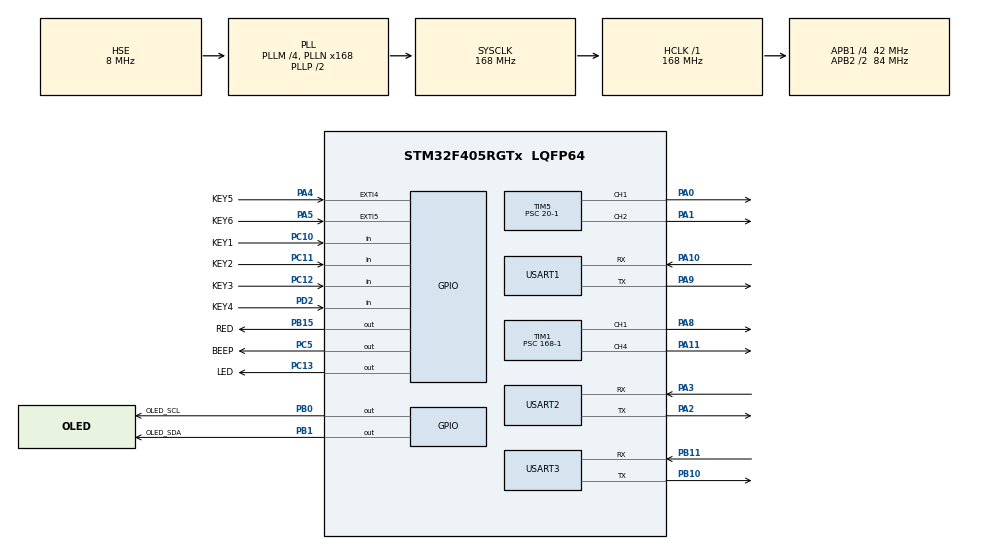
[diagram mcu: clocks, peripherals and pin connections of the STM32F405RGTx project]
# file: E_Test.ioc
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Mcu.Family=STM32F4
Mcu.Name=STM32F405RGTx
Mcu.Package=LQFP64
NVIC.EXTI4_IRQn=true\:0\:0\:false\:false\:true\:true\:true\:true
NVIC.EXTI9_5_IRQn=true\:0\:0\:false\:false\:true\:true\:true\:true
NVIC.PriorityGroup=NVIC_PRIORITYGROUP_4
NVIC.TIM2_IRQn=true\:1\:0\:true\:false\:true\:true\:true\:true
NVIC.USART1_IRQn=true\:1\:0\:true\:false\:true\:true\:true\:true
NVIC.USART2_IRQn=true\:1\:0\:true\:false\:true\:true\:true\:true
NVIC.USART3_IRQn=true\:1\:0\:true\:false\:true\:true\:true\:true
PA0-WKUP.Signal=S_TIM5_CH1
PA1.Signal=S_TIM5_CH2
PA10.Mode=Asynchronous
PA10.Signal=USART1_RX
PA11.Signal=S_TIM1_CH4
PA2.Mode=Asynchronous
PA2.Signal=USART2_TX
PA3.Mode=Asynchronous
PA3.Signal=USART2_RX
PA4.GPIO_Label=KEY5
PA4.GPIO_ModeDefaultEXTI=GPIO_MODE_IT_FALLING
PA4.GPIO_PuPd=GPIO_PULLUP
PA4.Signal=GPXTI4
PA5.GPIO_Label=KEY6
PA5.GPIO_ModeDefaultEXTI=GPIO_MODE_IT_FALLING
PA5.GPIO_PuPd=GPIO_PULLUP
PA5.Signal=GPXTI5
PA8.Signal=S_TIM1_CH1
PA9.Mode=Asynchronous
PA9.Signal=USART1_TX
PB0.GPIO_Label=OLED_SCL
PB0.GPIO_ModeDefaultOutputPP=GPIO_MODE_OUTPUT_OD
PB0.GPIO_PuPd=GPIO_PULLUP
PB0.GPIO_Speed=GPIO_SPEED_FREQ_VERY_HIGH
PB0.PinState=GPIO_PIN_SET
PB0.Signal=GPIO_Output
PB1.GPIO_Label=OLED_SDA
PB1.GPIO_ModeDefaultOutputPP=GPIO_MODE_OUTPUT_OD
PB1.GPIO_PuPd=GPIO_PULLUP
PB1.GPIO_Speed=GPIO_SPEED_FREQ_VERY_HIGH
PB1.PinState=GPIO_PIN_SET
PB1.Signal=GPIO_Output
PB10.Mode=Asynchronous
PB10.Signal=USART3_TX
PB11.Mode=Asynchronous
PB11.Signal=USART3_RX
PB15.GPIO_Label=RED
PB15.Signal=GPIO_Output
PC10.GPIO_Label=KEY1
PC10.Signal=GPIO_Input
PC11.GPIO_Label=KEY2
PC11.GPIO_PuPd=GPIO_NOPULL
PC11.Signal=GPIO_Input
PC12.GPIO_Label=KEY3
PC12.GPIO_PuPd=GPIO_NOPULL
PC12.Signal=GPIO_Input
PC13-ANTI_TAMP.GPIO_Label=LED
PC13-ANTI_TAMP.Signal=GPIO_Output
PC14-OSC32_IN.Mode=LSE-External-Oscillator
PC14-OSC32_IN.Signal=RCC_OSC32_IN
PC15-OSC32_OUT.Mode=LSE-External-Oscillator
PC15-OSC32_OUT.Signal=RCC_OSC32_OUT
PC5.GPIO_Label=BEEP
PC5.GPIO_Speed=GPIO_SPEED_FREQ_VERY_HIGH
PC5.Signal=GPIO_Output
PD2.GPIO_Label=KEY4
PD2.GPIO_PuPd=GPIO_NOPULL
PD2.Signal=GPIO_Input
PH0-OSC_IN.Mode=HSE-External-Oscillator
PH0-OSC_IN.Signal=RCC_OSC_IN
PH1-OSC_OUT.Mode=HSE-External-Oscillator
PH1-OSC_OUT.Signal=RCC_OSC_OUT
ProjectManager.HeapSize=0x200
ProjectManager.StackSize=0x400
ProjectManager.TargetToolchain=MDK-ARM V5.32
RCC.48MHZClocksFreq_Value=84000000
RCC.AHBFreq_Value=168000000
RCC.APB1CLKDivider=RCC_HCLK_DIV4
RCC.APB1Freq_Value=42000000
RCC.APB1TimFreq_Value=84000000
RCC.APB2CLKDivider=RCC_HCLK_DIV2
RCC.APB2Freq_Value=84000000
RCC.APB2TimFreq_Value=168000000
RCC.CortexFreq_Value=168000000
RCC.HCLKFreq_Value=168000000
RCC.HSE_VALUE=8000000
RCC.HSI_VALUE=16000000
RCC.PLLM=4
RCC.PLLN=168
RCC.PLLSourceVirtual=RCC_PLLSOURCE_HSE
RCC.SYSCLKFreq_VALUE=168000000
RCC.SYSCLKSource=RCC_SYSCLKSOURCE_PLLCLK
RCC.VCOOutputFreq_Value=336000000
SH.S_TIM1_CH1.0=TIM1_CH1,PWM Generation1 CH1
SH.S_TIM1_CH4.0=TIM1_CH4,PWM Generation4 CH4
SH.S_TIM5_CH1.0=TIM5_CH1,PWM Generation1 CH1
SH.S_TIM5_CH2.0=TIM5_CH2,PWM Generation2 CH2
TIM1.Channel-PWM\ Generation1\ CH1=TIM_CHANNEL_1
TIM1.Channel-PWM\ Generation4\ CH4=TIM_CHANNEL_4
TIM1.Period=20000
TIM1.Prescaler=168-1
TIM2.AutoReloadPreload=TIM_AUTORELOAD_PRELOAD_ENABLE
TIM2.Period=100-1
TIM2.Prescaler=84-1
TIM5.Channel-PWM\ Generation1\ CH1=TIM_CHANNEL_1
TIM5.Channel-PWM\ Generation2\ CH2=TIM_CHANNEL_2
TIM5.Period=84000
TIM5.Prescaler=20-1
USART1.VirtualMode=VM_ASYNC
USART2.VirtualMode=VM_ASYNC
USART3.VirtualMode=VM_ASYNC
VP_TIM2_VS_ClockSourceINT.Mode=Internal
board=custom

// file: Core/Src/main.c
/* USER CODE BEGIN Header */
/**
 ******************************************************************************
 * @file           : main.c
 * @brief          : Main program body
 ******************************************************************************
 * @attention
 *
 * Copyright (c) 2023 STMicroelectronics.
 * All rights reserved.
 *
 * This software is licensed under terms that can be found in the LICENSE file
 * in the root directory of this software component.
 * If no LICENSE file comes with this software, it is provided AS-IS.
 *
 ******************************************************************************
 */
/* USER CODE END Header */
#include "main.h"
#include "tim.h"
#include "usart.h"
#include "gpio.h"

/* USER CODE BEGIN Includes */
#include <string.h>
#include "oled.h"
#include "openmv.h"
#include "beep.h"
#include "key.h"
#include "gui.h"
#include "duoji.h"
#include "stdio.h"
#include "stm32f4xx_it.h"
#include "my_uart.h"
#include "math.h"
/* USER CODE END Includes */

/* USER CODE BEGIN PTD */
#define Wide 144 // Black
#define Long 114
/* USER CODE END PTD */

/* USER CODE BEGIN PV */
extern uint8_t Usart1_ReadBuf[255]; // 串口1 缓冲数组
extern uint8_t Usart1_ReadCount;    // 串口1 接收字节计数
extern uint8_t uart3_rxbuff;
extern Point Red_center[1];
extern int AVer_Num;
extern int X;
extern int Y;
extern int Stop_Num;
extern int Road_Num;
// extern Point Black_Point[4];
/* USER CODE END PV */

void SystemClock_Config(void);
/* USER CODE BEGIN PFP */
// int Open_Num = 0;
int angle_shang = 30;
int angle_xia = 30;
int Angle_Change = 0; // 1为角度设置，0为脉冲设置
int Maichong_Shang = 910;
int Maichong_xia = 2500; // 右上
void (*current_operation_index)();
uint32_t func_index = 1;  // 初始显示欢迎界面
uint8_t last_index = 127; // last初始为无效值
int i;
int Road = 0;
extern int PID_Num;
// int Maichong_Shang = Shang_Min;
// int Maichong_xia = Xia_Min;

/* USER CODE END PFP */

/* USER CODE BEGIN 0 */

// int Road = 0;
//  Point Center_Point[1]={{51, 48}};//中心点坐标
Point Bian_Point[5] = {
    {139, 12},  // 右上
    {134, 131}, // 右下
    {12, 134},  // 左下
    {12, 16},   // 左上
    {139, 12},  // 右上
};              // 铅笔痕迹的四点坐标
/* USER CODE END 0 */

int main(void)
{
  /* USER CODE BEGIN 1 */
  int numPoints = 0;
  /* USER CODE END 1 */

  /* MCU Configuration--------------------------------------------------------*/

  /* Reset of all peripherals, Initializes the Flash interface and the Systick. */
  HAL_Init();

  /* Configure the system clock */
  SystemClock_Config();

  /* Initialize all configured peripherals */
  MX_GPIO_Init();
  MX_TIM1_Init();
  MX_USART1_UART_Init();
  MX_USART2_UART_Init();
  MX_USART3_UART_Init();
  MX_TIM2_Init();
  MX_TIM5_Init();
  /* USER CODE BEGIN 2 */
  OLED_Init(); // 初始化OLED

  PID_init(); // PID参数初始化

  HAL_UART_Receive_IT(&huart1, &USART3_RX_Data, 1); // 打开串口接收中断
  HAL_UART_Receive_IT(&huart2, &USART2_RX_Data, 1); // 打开串口接收中断;
  HAL_TIM_PWM_Start(&htim1, TIM_CHANNEL_1);         //***定时器初始化
  HAL_TIM_PWM_Start(&htim1, TIM_CHANNEL_4);         //***定时器初始化
  HAL_TIM_PWM_Start(&htim5, TIM_CHANNEL_1);         //***定时器初始化
  HAL_TIM_PWM_Start(&htim5, TIM_CHANNEL_2);         //***定时器初始化
  HAL_TIM_Base_Start_IT(&htim2);                    // 定时器2的定时功能开，1ms
  HAL_GPIO_WritePin(RED_GPIO_Port, RED_Pin, GPIO_PIN_SET);

  /* USER CODE END 2 */

  /* Infinite loop */
  /* USER CODE BEGIN WHILE */
  while (1)
  {

    Menu_OLED(); // 执行菜单命令

    // }

    /* USER CODE END WHILE */

  }
}

void SystemClock_Config(void)
{
  RCC_OscInitTypeDef RCC_OscInitStruct = {0};
  RCC_ClkInitTypeDef RCC_ClkInitStruct = {0};

  /** Configure the main internal regulator output voltage
  */
  __HAL_RCC_PWR_CLK_ENABLE();
  __HAL_PWR_VOLTAGESCALING_CONFIG(PWR_REGULATOR_VOLTAGE_SCALE1);

  /** Initializes the RCC Oscillators according to the specified parameters
  * in the RCC_OscInitTypeDef structure.
  */
  RCC_OscInitStruct.OscillatorType = RCC_OSCILLATORTYPE_HSE;
  RCC_OscInitStruct.HSEState = RCC_HSE_ON;
  RCC_OscInitStruct.PLL.PLLState = RCC_PLL_ON;
  RCC_OscInitStruct.PLL.PLLSource = RCC_PLLSOURCE_HSE;
  RCC_OscInitStruct.PLL.PLLM = 4;
  RCC_OscInitStruct.PLL.PLLN = 168;
  RCC_OscInitStruct.PLL.PLLP = RCC_PLLP_DIV2;
  RCC_OscInitStruct.PLL.PLLQ = 4;
  if (HAL_RCC_OscConfig(&RCC_OscInitStruct) != HAL_OK)
  {
    Error_Handler();
  }

  /** Initializes the CPU, AHB and APB buses clocks
  */
  RCC_ClkInitStruct.ClockType = RCC_CLOCKTYPE_HCLK|RCC_CLOCKTYPE_SYSCLK
                              |RCC_CLOCKTYPE_PCLK1|RCC_CLOCKTYPE_PCLK2;
  RCC_ClkInitStruct.SYSCLKSource = RCC_SYSCLKSOURCE_PLLCLK;
  RCC_ClkInitStruct.AHBCLKDivider = RCC_SYSCLK_DIV1;
  RCC_ClkInitStruct.APB1CLKDivider = RCC_HCLK_DIV4;
  RCC_ClkInitStruct.APB2CLKDivider = RCC_HCLK_DIV2;

  if (HAL_RCC_ClockConfig(&RCC_ClkInitStruct, FLASH_LATENCY_5) != HAL_OK)
  {
    Error_Handler();
  }
}

/* USER CODE BEGIN 4 */
// void HAL_GPIO_EXTI_IRQHandler(uint16_t GPIO_Pin)
//{
//  EXTI line interrupt detected
//  if(__HAL_GPIO_EXTI_GET_IT(GPIO_Pin) != RESET)
//  {
//   // __HAL_GPIO_EXTI_CLEAR_IT(GPIO_Pin);
//    HAL_GPIO_EXTI_Callback(GPIO_Pin);
//		__HAL_GPIO_EXTI_CLEAR_IT(GPIO_Pin);
//  }
//

void HAL_GPIO_EXTI_Callback(uint16_t GPIO_Pin)
{
  if (GPIO_Pin == KEY5_Pin)
  {
    if (HAL_GPIO_ReadPin(KEY5_GPIO_Port, KEY5_Pin) == 0)
    {
      LED_text;
      if (Stop_Num == 0)
        Stop_Num = 1;
      else
        Stop_Num = 0;
      while (!HAL_GPIO_ReadPin(KEY5_GPIO_Port, KEY5_Pin))
        ; // 松手检测
    }
   // __HAL_GPIO_EXTI_CLEAR_IT(GPIO_Pin);
  }
  if (GPIO_Pin == KEY6_Pin)
  {
    if (HAL_GPIO_ReadPin(KEY6_GPIO_Port, KEY6_Pin) == 0)
    {
		LED_text;
				PID_Num=0;
                Stop_Num = 0;
                PID_Duoji_Shang.target_val = O_Center[0].y;
                PID_Duoji_Xia.target_val = O_Center[0].x;
               // Beep_DD();
               // OLED_Clear();
                //func_index = 1;
      while (!HAL_GPIO_ReadPin(KEY6_GPIO_Port, KEY6_Pin)); // 松手检测
    }

  }
  __HAL_GPIO_EXTI_CLEAR_IT(GPIO_Pin);

}
/* USER CODE END 4 */

void Error_Handler(void)
{
  __disable_irq();
  while (1)
  {
  }
}
